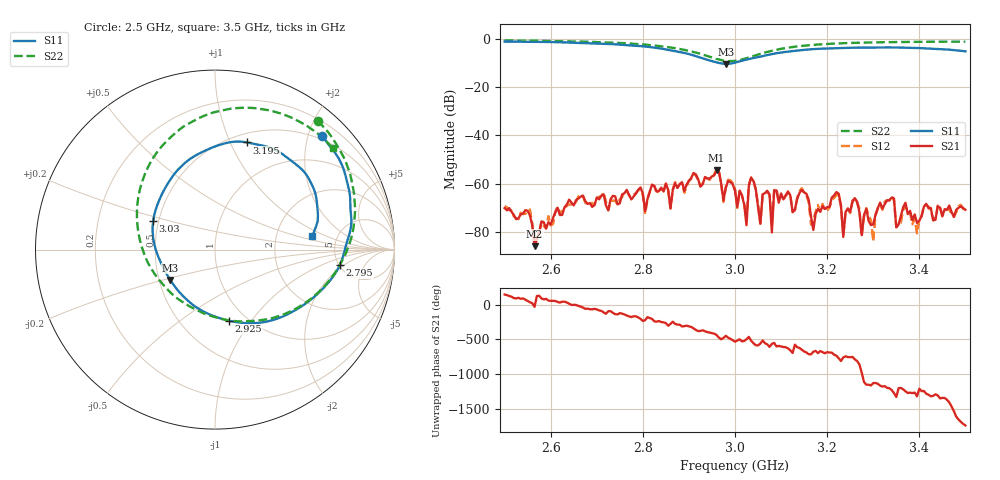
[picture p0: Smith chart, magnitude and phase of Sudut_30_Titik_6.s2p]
# Hz S RI R 50
! CMT, C1220, 16058040, 17.2.0/1
! Date: 15/08/2018 10:15:16
! Data: Format (Calibration Info)
! Freq  S11: Re/Im (F2)  S21: Re/Im (F2)  S12: Re/Im (F2)  S22: Re/Im (F2)
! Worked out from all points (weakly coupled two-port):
!   201 points, 2.5 GHz to 3.5 GHz, reference 50 ohm
!   highest |S21| = -54.39 dB at 2.96 GHz (marker M1); lowest = -85.7 dB at 2.565 GHz (marker M2)
!   lowest |S11| = -10.4 dB at 2.98 GHz (marker M3), VSWR 1.86, Z = 28.6 - j10.7 ohm
!   |S11| at or under -10 dB: 2.964 GHz to 2.998 GHz (34.41 MHz wide, 1.15 % of centre)
!   |S22| runs from -9.3 to -0.7 dB; largest |S21 - S12| = 0.00015
!   S11 on the Smith chart (normalised r, x): 2.5 GHz: 0.43, +2.25; 2.795 GHz: 5.09, -1.72; 2.925 GHz: 0.83, -0.79; 3.03 GHz: 0.47, +0.17; 3.195 GHz: 0.59, +1.16; 3.5 GHz: 3.25, +0.71
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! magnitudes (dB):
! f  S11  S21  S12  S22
! 2.5 GHz  -1.2  -70.0  -69.2  -0.7
! 2.565 GHz  -1.3  -85.7  -85.0  -0.9
! 2.67 GHz  -1.8  -64.8  -65.1  -1.2
! 2.795 GHz  -3.1  -61.5  -62.3  -2.3
! 2.835 GHz  -4.0  -62.9  -62.6  -3.0
! 2.925 GHz  -7.9  -61.1  -61.0  -6.3
! 2.96 GHz  -9.8  -54.4  -53.7  -8.4
! 2.98 GHz  -10.4  -61.6  -61.4  -9.2
! 3 GHz  -9.9  -62.9  -62.1  -9.2
! 3.025 GHz  -8.6  -77.1  -74.4  -8.1
! 3.03 GHz  -8.4  -60.8  -60.4  -7.8
! 3.055 GHz  -7.4  -76.5  -76.3  -6.3
! 3.075 GHz  -6.6  -64.4  -64.6  -5.2
! 3.08 GHz  -6.4  -80.1  -76.9  -5.0
! 3.085 GHz  -6.2  -62.7  -62.6  -4.8
! 3.145 GHz  -4.7  -62.5  -61.8  -3.0
! 3.17 GHz  -4.3  -79.0  -75.1  -2.6
! 3.195 GHz  -4.1  -70.4  -71.0  -2.3
! 3.3 GHz  -3.7  -76.7  -83.6  -1.5
! 3.335 GHz  -3.6  -66.8  -66.9  -1.4
! 3.395 GHz  -3.9  -76.2  -80.4  -1.3
! 3.5 GHz  -5.2  -70.7  -71.5  -1.3
